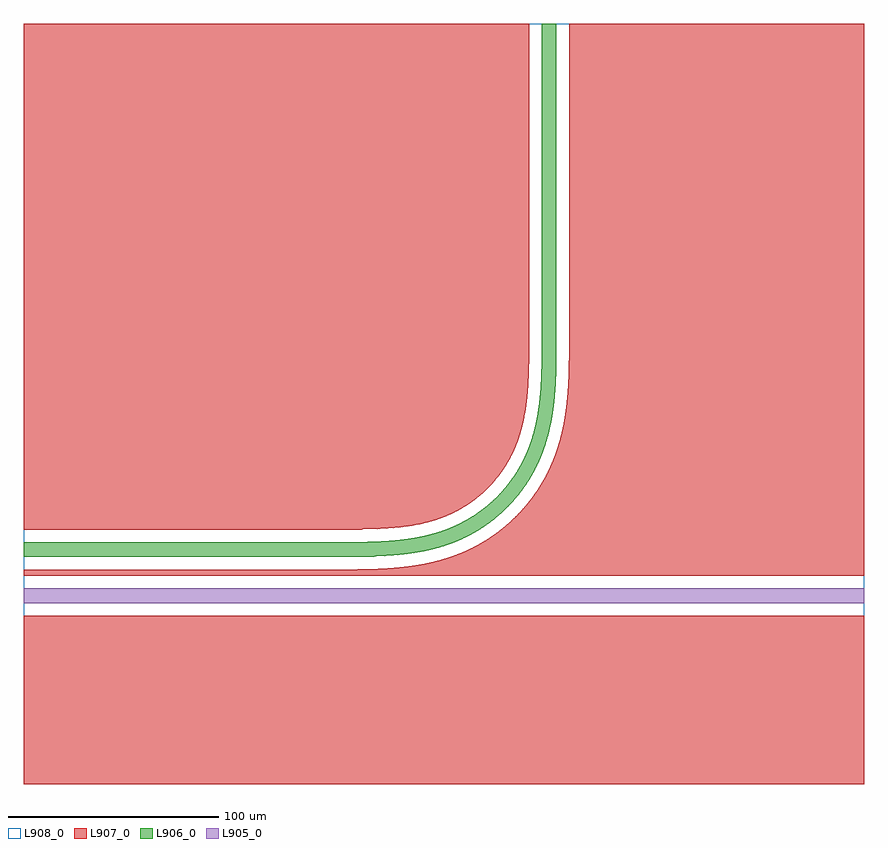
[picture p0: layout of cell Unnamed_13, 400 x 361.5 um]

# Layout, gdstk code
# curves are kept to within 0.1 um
import gdstk
lib = gdstk.Library(unit=1e-6, precision=1e-09)
def R(c, l, rs):  # rectangles x0, y0, x1, y1
    for r in rs: c.add(gdstk.rectangle(r[:2], r[2:], *l))
def P(c, l, *ps):  # polygons
    for p in ps: c.add(gdstk.Polygon(p, *l))
L905_0 = (905, 0)
L906_0 = (906, 0)
L907_0 = (907, 0)
L908_0 = (908, 0)

unnamed_13 = lib.new_cell('Unnamed_13')
R(unnamed_13, L905_0, [(-150,-14.5,250,-7.5)])
P(unnamed_13, L906_0, [(-150,7.5),(-150,14.5),(6.778,14.513),(19.943,14.842),(25.674,15.234),(31.098,15.812),(38.108,16.938),(44.23,18.357),(50.07,20.181),(55.369,22.326),(60.588,24.98),(65.765,28.223),(70.528,31.842),(74.769,35.691),(78.831,40.082),(82.486,44.817),(85.641,49.749),(88.515,55.283),(90.733,60.69),(92.643,66.77),(94.062,72.892),(95.188,79.902),(95.766,85.326),(96.158,91.057),(96.487,104.222),(96.5,261),(103.5,261),(103.487,104.181),(103.238,92.591),(102.536,82.548),(101.449,74.393),(99.953,67.092),(97.957,60.154),(95.504,53.76),(92.39,47.46),(88.773,41.6),(84.627,36.101),(80.188,31.21),(74.899,26.373),(69.4,22.227),(63.54,18.61),(57.498,15.609),(51.11,13.132),(44.177,11.113),(36.743,9.574),(28.86,8.506),(19.086,7.792),(6.819,7.513)])
R(unnamed_13, L907_0, [(-150,-100.5,250,-20.5)])
P(unnamed_13, L907_0, [(-150,20.5),(-150,261),(90.5,261),(90.492,105.176),(90.281,93.909),(89.722,85.097),(88.824,77.752),(87.6,71.341),(85.954,65.278),(83.91,59.708),(81.356,54.377),(78.3,49.319),(74.769,44.58),(70.879,40.285),(66.51,36.305),(61.681,32.7),(56.623,29.644),(51.292,27.09),(45.722,25.046),(39.659,23.4),(33.248,22.176),(25.903,21.278),(17.091,20.719),(5.824,20.508)],
  [(-150,-1.5),(-150,1.5),(6.043,1.509),(16.721,1.693),(25.807,2.2),(32.893,2.936),(39.319,3.936),(45.046,5.149),(51.043,6.802),(56.561,8.728),(61.717,10.939),(66.716,13.512),(71.522,16.428),(75.017,18.855),(78.495,21.561),(81.931,24.557),(84.979,27.525),(87.865,30.651),(90.582,33.926),(93.208,37.465),(95.715,41.272),(97.929,45.082),(99.8,48.734),(101.539,52.617),(103.06,56.553),(104.46,60.811),(105.711,65.382),(106.734,69.963),(107.575,74.684),(108.386,80.808),(108.947,87.163),(109.307,94.279),(109.471,102.108),(109.5,261),(250,261),(250,-1.5)])
R(unnamed_13, L908_0, [(-150,-100.5,250,261)])

lib.write_gds('Unnamed_13.gds')
